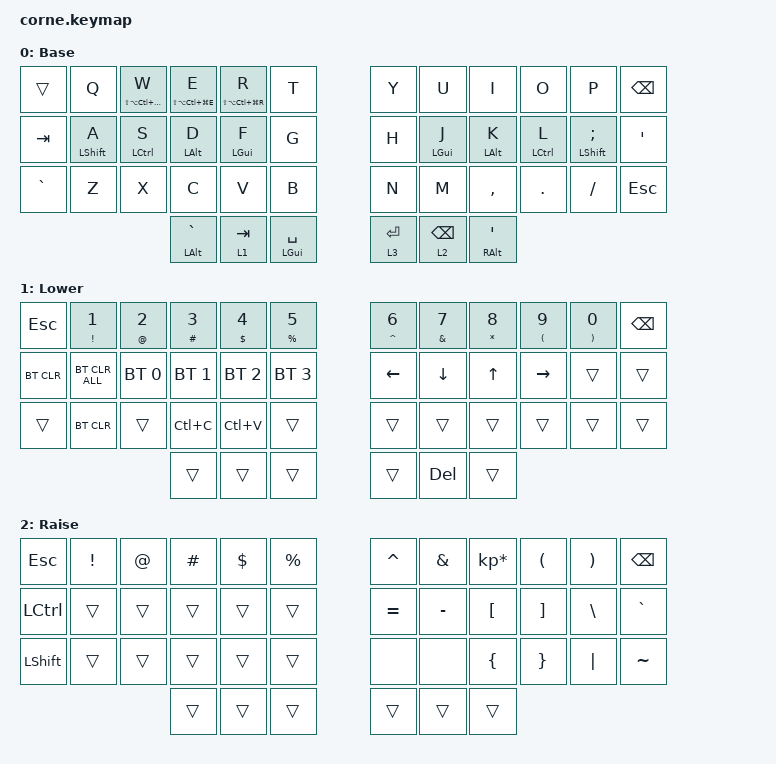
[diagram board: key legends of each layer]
/*
 * Copyright (c) 2020 The ZMK Contributors
 *
 * SPDX-License-Identifier: MIT
 */

#include <behaviors.dtsi>
#include <dt-bindings/zmk/bt.h>
#include <dt-bindings/zmk/keys.h>

/ {
    combos {
        compatible = "zmk,combos";

        m_esc {
            bindings = <&kp ESC>;
            key-positions = <1 2>;
        };

        m_grave {
            bindings = <&kp GRAVE>;
            key-positions = <25 26>;
        };

        m_sqt {
            bindings = <&kp SQT>;
            key-positions = <21 22>;
        };
    };

    behaviors {
        HMR: HMR {
            compatible = "zmk,behavior-hold-tap";
            label = "HMR";
            bindings = <&kp>, <&kp>;

            #binding-cells = <2>;
            tapping-term-ms = <280>;
            quick-tap-ms = <175>;
            flavor = "tap-preferred";
            hold-trigger-on-release;
            hold-trigger-key-positions = <0 12 24 1 13 25 2 14 26 3 15 27 4 16 28 36 37 38 17 5 29 39 40 41>;
        };

        HML: HML {
            compatible = "zmk,behavior-hold-tap";
            label = "HML";
            bindings = <&kp>, <&kp>;

            #binding-cells = <2>;
            tapping-term-ms = <280>;
            quick-tap-ms = <175>;
            flavor = "tap-preferred";
            hold-trigger-key-positions = <36 37 38 6 7 8 9 10 11 18 19 20 21 22 23 30 31 32 33 34 35 40 41 39>;
            hold-trigger-on-release;
        };
    };

    keymap {
        compatible = "zmk,keymap";

        default_layer {
            // -----------------------------------------------------------------------------------------
            // |  TAB |  Q  |  W  |  E  |  R  |  T  |   |  Y  |  U   |  I  |  O  |  P  | BKSP |
            // | CTRL |  A  |  S  |  D  |  F  |  G  |   |  H  |  J   |  K  |  L  |  ;  |  '   |
            // | SHFT |  Z  |  X  |  C  |  V  |  B  |   |  N  |  M   |  ,  |  .  |  /  | ESC  |
            //                    | GUI | LWR | SPC |   | ENT | RSE  | ALT |

            display-name = "Base";
            bindings = <
&trans     &kp Q              &HML LS(LA(LC(LG(W)))) W  &HML LS(LA(LC(LG(E)))) E  &HML LS(LA(LC(LG(R)))) R  &kp T              &kp Y        &kp U            &kp I                   &kp O                &kp P                 &kp BSPC
&kp TAB    &HML LEFT_SHIFT A  &HML LEFT_CONTROL S       &HML LEFT_ALT D           &HML LEFT_GUI F           &kp G              &kp H        &HMR LEFT_GUI J  &HMR LEFT_ALT K         &HMR LEFT_CONTROL L  &HMR LEFT_SHIFT SEMI  &kp SQT
&kp GRAVE  &kp Z              &kp X                     &kp C                     &kp V                     &kp B              &kp N        &kp M            &kp COMMA               &kp DOT              &kp FSLH              &kp ESC
                                                        &HML LEFT_ALT GRAVE       &lt 1 TAB                 &HML LGUI SPACE    &lt 3 ENTER  &lt 2 BACKSPACE  &HMR RALT SINGLE_QUOTE
            >;
        };

        lower_layer {
            // -----------------------------------------------------------------------------------------
            // |  TAB |  1  |  2  |  3  |  4  |  5  |   |  6  |  7  |  8  |  9  |  0  | BKSP |
            // | BTCLR| BT1 | BT2 | BT3 | BT4 | BT5 |   | LFT | DWN |  UP | RGT |     |      |
            // | SHFT |     |     |     |     |     |   |     |     |     |     |     |      |
            //                    | GUI |     | SPC |   | ENT |     | ALT |

            display-name = "Lower";
            bindings = <
&kp ESC     &mt EXCL NUMBER_1  &mt AT NUMBER_2  &mt HASH NUMBER_3  &mt DOLLAR NUMBER_4  &mt PERCENT N5    &mt CARET NUMBER_6  &mt AMPS N7  &mt ASTRK N8  &mt LEFT_PARENTHESIS N9  &mt RIGHT_PARENTHESIS N0  &kp BSPC
&bt BT_CLR  &bt BT_CLR_ALL     &bt BT_SEL 0     &bt BT_SEL 1       &bt BT_SEL 2         &bt BT_SEL 3      &kp LEFT            &kp DOWN     &kp UP        &kp RIGHT                &trans                    &trans
&trans      &bt BT_CLR         &trans           &kp LC(C)          &kp LC(V)            &trans            &trans              &trans       &trans        &trans                   &trans                    &trans
                                                &trans             &trans               &trans            &trans              &kp DEL      &trans
            >;
        };

        raise_layer {
            // -----------------------------------------------------------------------------------------
            // |  TAB |  !  |  @  |  #  |  $  |  %  |   |  ^  |  &  |  *  |  (  |  )  | BKSP |
            // | CTRL |     |     |     |     |     |   |  -  |  =  |  [  |  ]  |  \  |  `   |
            // | SHFT |     |     |     |     |     |   |  _  |  +  |  {  |  }  | "|" |  ~   |
            //                    | GUI |     | SPC |   | ENT |     | ALT |

            display-name = "Raise";
            bindings = <
&kp ESC    &kp EXCL  &kp AT  &kp HASH  &kp DLLR  &kp PRCNT    &kp CARET  &kp AMPS   &kp KP_MULTIPLY  &kp LPAR  &kp RPAR  &kp BSPC
&kp LCTRL  &trans    &trans  &trans    &trans    &trans       &kp EQUAL  &kp MINUS  &kp LBKT         &kp RBKT  &kp BSLH  &kp GRAVE
&kp LSHFT  &trans    &trans  &trans    &trans    &trans       &none      &none      &kp LBRC         &kp RBRC  &kp PIPE  &kp TILDE
                             &trans    &trans    &trans       &trans     &trans     &trans
            >;
        };

        extra_1 { status = "reserved"; };

        extra_2 { status = "reserved"; };

        extra_3 { status = "reserved"; };
    };
};
